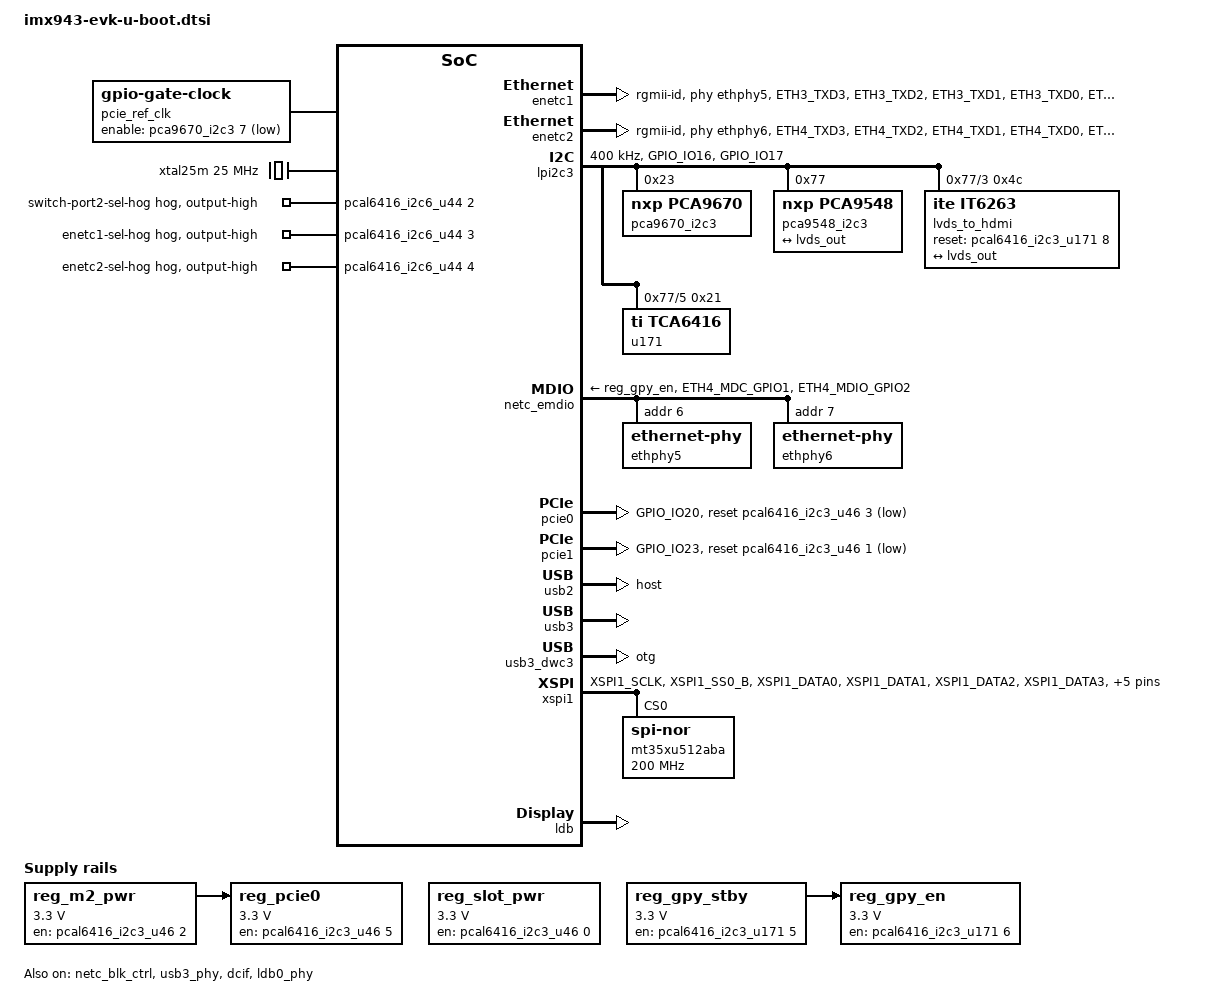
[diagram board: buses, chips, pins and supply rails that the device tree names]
// SPDX-License-Identifier: GPL-2.0+
/*
 * Copyright 2025 NXP
 */

#include "imx943-u-boot.dtsi"

/ {
	aliases {
		gpio1 = &gpio2;
		gpio2 = &gpio3;
		gpio3 = &gpio4;
		gpio4 = &gpio5;
		gpio5 = &gpio6;
		gpio6 = &gpio7;
		mmc0 = &usdhc1;
		mmc1 = &usdhc2;
		serial0 = &lpuart1;
		ethernet0 = &enetc3;
		ethernet1 = &enetc1;
		ethernet2 = &enetc2;
		usb0 = &usb3_dwc3;
		usb1 = &usb2;
		usb_gadget0 = &usb3_dwc3;
		usb_gadget1 = &usbg2;
		pci0 = &netc_bus0;
		pci1 = &netc_bus1;
	};

	usbg2: usbg2 {
		compatible = "fsl,imx27-usb-gadget";
		dr_mode = "peripheral";
		chipidea,usb = <&usb2>;
		status = "okay";
	};

	chosen {
		bootargs = "console=ttyLP0,115200 earlycon";
	};

	pcie_ref_clk: clock-pcie-ref {
		compatible = "gpio-gate-clock";
		clocks = <&xtal25m>;
		#clock-cells = <0>;
		enable-gpios = <&pca9670_i2c3 7 GPIO_ACTIVE_LOW>;
	};

	reg_m2_pwr: regulator-m2-pwr {
		compatible = "regulator-fixed";
		regulator-name = "M.2-power";
		regulator-min-microvolt = <3300000>;
		regulator-max-microvolt = <3300000>;
		gpio = <&pcal6416_i2c3_u46 2 GPIO_ACTIVE_HIGH>;
		enable-active-high;
		/*
		 * M.2 device only can be enabled(W_DISABLE1#) after all Power
		 * Rails reach their minimum operating voltage (PCI Express M.2
		 * Specification r5.1 3.1.4 Power-up Timing).
		 * Set a delay equal to the max value of Tsettle here.
		 */
		startup-delay-us = <5000>;
	};

	reg_pcie0: regulator-pcie {
		compatible = "regulator-fixed";
		regulator-name = "PCIE_WLAN_EN";
		regulator-min-microvolt = <3300000>;
		regulator-max-microvolt = <3300000>;
		vin-supply = <&reg_m2_pwr>;
		gpio = <&pcal6416_i2c3_u46 5 GPIO_ACTIVE_HIGH>;
		enable-active-high;
	};

	reg_slot_pwr: regulator-slot-pwr {
		compatible = "regulator-fixed";
		regulator-name = "PCIe slot-power";
		regulator-min-microvolt = <3300000>;
		regulator-max-microvolt = <3300000>;
		gpio = <&pcal6416_i2c3_u46 0 GPIO_ACTIVE_HIGH>;
		enable-active-high;
	};

	reg_gpy_stby: regulator-gpy-stby {
		compatible = "regulator-fixed";
		regulator-name = "gpy-stby";
		regulator-min-microvolt = <3300000>;
		regulator-max-microvolt = <3300000>;
		gpio = <&pcal6416_i2c3_u171 5 GPIO_ACTIVE_HIGH>;
		enable-active-high;
	};

	reg_gpy_en: regulator-gpy-en {
		compatible = "regulator-fixed";
		regulator-name = "gpy-en";
		regulator-min-microvolt = <3300000>;
		regulator-max-microvolt = <3300000>;
		vin-supply = <&reg_gpy_stby>;
		gpio = <&pcal6416_i2c3_u171 6 GPIO_ACTIVE_HIGH>;
		enable-active-high;
	};

	xtal25m: clock-xtal25m {
		compatible = "fixed-clock";
		#clock-cells = <0>;
		clock-frequency = <25000000>;
		clock-output-names = "xtal_25MHz";
	};

	cm70: imx943-cm70 {
		compatible = "fsl,imx94-cm70";
	};

	cm71: imx943-cm71 {
		compatible = "fsl,imx94-cm71";
	};

	cm33s: imx943-cm33s {
		compatible = "fsl,imx94-cm33s";
	};
};

&enetc1 {
	clocks = <&scmi_clk IMX94_CLK_MAC4>;
	clock-names = "enet_ref_clk";
	pinctrl-names = "default";
	pinctrl-0 = <&pinctrl_eth3>;
	phy-handle = <&ethphy5>;
	phy-mode = "rgmii-id";
	status = "okay";
};

&enetc2 {
	clocks = <&scmi_clk IMX94_CLK_MAC5>;
	clock-names = "enet_ref_clk";
	pinctrl-names = "default";
	pinctrl-0 = <&pinctrl_eth4>;
	phy-handle = <&ethphy6>;
	phy-mode = "rgmii-id";
	status = "okay";
};

&lpi2c3 {
	clock-frequency = <400000>;
	pinctrl-names = "default";
	pinctrl-0 = <&pinctrl_lpi2c3>;
	status = "okay";

	pca9670_i2c3: gpio@23 {
		compatible = "nxp,pca9670";
		reg = <0x23>;
		gpio-controller;
		#gpio-cells = <2>;

		/* PCIE clock FANOUT buffer U12 VOE1/2/3/4 port on */
		pcie-p1-on-hog {
			gpio-hog;
			gpios = <1 GPIO_ACTIVE_HIGH>;
			output-low;
		};

		pcie-p2-on-hog {
			gpio-hog;
			gpios = <2 GPIO_ACTIVE_HIGH>;
			output-low;
		};

		pcie-p3-on-hog {
			gpio-hog;
			gpios = <3 GPIO_ACTIVE_HIGH>;
			output-low;
		};

		pcie-p4-on-hog {
			gpio-hog;
			gpios = <4 GPIO_ACTIVE_HIGH>;
			output-low;
		};
	};

	pca9548_i2c3: i2c-mux@77 {
		compatible = "nxp,pca9548";
		#address-cells = <1>;
		#size-cells = <0>;
		reg = <0x77>;

		i2c@3 {
			#address-cells = <1>;
			#size-cells = <0>;
			reg = <3>;

			lvds_to_hdmi: bridge@4c {
				compatible = "ite,it6263";
				reg = <0x4c>;
				reset-gpios = <&pcal6416_i2c3_u171 8 GPIO_ACTIVE_HIGH>;

				ports {
					#address-cells = <1>;
					#size-cells = <0>;

					port@0 {
						reg = <0>;

						it6263_in: endpoint {
							remote-endpoint = <&lvds_out>;
						};
					};
				};
			};
		};

		i2c@5 {
			#address-cells = <1>;
			#size-cells = <0>;
			reg = <5>;

			pcal6416_i2c3_u171: gpio@21 {
				compatible = "nxp,pcal6416";
				reg = <0x21>;
				gpio-controller;
				#gpio-cells = <2>;

				ethphy2-on-hog {
					gpio-hog;
					gpios = <2 GPIO_ACTIVE_HIGH>;
					output-high;
				};

				ethphy3-on-hog {
					gpio-hog;
					gpios = <3 GPIO_ACTIVE_HIGH>;
					output-high;
				};

				ethphy4-on-hog {
					gpio-hog;
					gpios = <4 GPIO_ACTIVE_HIGH>;
					output-high;
				};

				lvds-en-hog {
					gpio-hog;
					gpios = <9 GPIO_ACTIVE_HIGH>;
					output-high;
				};
			};
		};
	};
};

&pcal6416_i2c6_u44 {
	/* Switch-port2/ENET0 IOMUX selection */
	switch-port2-sel-hog {
		gpio-hog;
		gpios = <2 GPIO_ACTIVE_HIGH>;
		output-high;
	};

	/* ENET1 IOMUX selection */
	enetc1-sel-hog {
		gpio-hog;
		gpios = <3 GPIO_ACTIVE_HIGH>;
		output-high;
	};

	/* ENET2 IOMUX selection */
	enetc2-sel-hog {
		gpio-hog;
		gpios = <4 GPIO_ACTIVE_HIGH>;
		output-high;
	};
};

&lpuart1 {
	bootph-pre-ram;
};

&netc_blk_ctrl {
	assigned-clocks = <&scmi_clk IMX94_CLK_MAC2>,
			  <&scmi_clk IMX94_CLK_MAC4>,
			  <&scmi_clk IMX94_CLK_MAC5>;
	assigned-clock-parents = <&scmi_clk IMX94_CLK_SYSPLL1_PFD0>,
				 <&scmi_clk IMX94_CLK_SYSPLL1_PFD0>,
				 <&scmi_clk IMX94_CLK_SYSPLL1_PFD0>;
	assigned-clock-rates = <250000000>, <250000000>, <250000000>;
	status = "okay";
};

&netc_emdio {
	pinctrl-names = "default";
	pinctrl-0 = <&pinctrl_emdio>;
	phy-supply = <&reg_gpy_en>;
	status = "okay";

	ethphy5: ethernet-phy@6 {
		reg = <0x6>;
		realtek,clkout-disable;
	};

	ethphy6: ethernet-phy@7 {
		reg = <0x7>;
		realtek,clkout-disable;
	};
};

&reg_usdhc2_vmmc {
	bootph-pre-ram;
};

&pcie0 {
	pinctrl-0 = <&pinctrl_pcie0>;
	pinctrl-names = "default";
	clocks = <&scmi_clk IMX94_CLK_HSIO>,
		 <&scmi_clk IMX94_CLK_HSIOPLL>,
		 <&scmi_clk IMX94_CLK_HSIOPLL_VCO>,
		 <&scmi_clk IMX94_CLK_HSIOPCIEAUX>,
		 <&pcie_ref_clk>;
	clock-names = "pcie", "pcie_bus", "pcie_phy", "pcie_aux", "ext-ref";
	reset-gpio = <&pcal6416_i2c3_u46 3 GPIO_ACTIVE_LOW>;
	vpcie-supply = <&reg_pcie0>;
	status = "okay";
};

&pcie1 {
	pinctrl-0 = <&pinctrl_pcie1>;
	pinctrl-names = "default";
	clocks = <&scmi_clk IMX94_CLK_HSIO>,
		 <&scmi_clk IMX94_CLK_HSIOPLL>,
		 <&scmi_clk IMX94_CLK_HSIOPLL_VCO>,
		 <&scmi_clk IMX94_CLK_HSIOPCIEAUX>,
		 <&pcie_ref_clk>;
	clock-names = "pcie", "pcie_bus", "pcie_phy", "pcie_aux", "ext-ref";
	reset-gpio = <&pcal6416_i2c3_u46 1 GPIO_ACTIVE_LOW>;
	vpcie-supply = <&reg_slot_pwr>;
	status = "okay";
};

&usb2 {
	compatible = "fsl,imx8mm-usb", "fsl,imx7d-usb";
	/delete-property/power-domains;

	dr_mode = "host";
	hnp-disable;
	srp-disable;
	adp-disable;
	disable-over-current;
	status = "okay";
};

&usb3 {
	clocks = <&scmi_clk IMX94_CLK_HSIO>,
		 <&scmi_clk IMX94_CLK_24M>,
		 <&scmi_clk IMX94_CLK_32K>;
	clock-names = "hsio", "ref", "suspend";

	/delete-property/power-domains;
	bootph-pre-ram;

	status = "okay";
};

&usb3_dwc3 {
	bootph-pre-ram;
	dr_mode = "otg";
	hnp-disable;
	srp-disable;
	adp-disable;
	usb-role-switch;
	role-switch-default-mode = "peripheral";
	snps,dis-u1-entry-quirk;
	snps,dis-u2-entry-quirk;
	status = "okay";
};

&usb3_phy {
	bootph-pre-ram;
	orientation-switch;
	status = "okay";
};

&usdhc1 {
	bootph-pre-ram;
};

&usdhc2 {
	bootph-pre-ram;
};

&wdog3 {
	status = "disabled";
};

&xspi1 {
	bootph-pre-ram;
	pinctrl-names = "default";
	pinctrl-0 = <&pinctrl_xspi1>;
	nxp,xspi-env = <0>;
	nxp,xspi-gmid;
	status = "okay";

	mt35xu512aba: flash@0 {
		bootph-pre-ram;
		reg = <0>;
		#address-cells = <1>;
		#size-cells = <1>;
		compatible = "jedec,spi-nor";
		spi-max-frequency = <200000000>;
		spi-tx-bus-width = <8>;
		spi-rx-bus-width = <8>;
	};
};

&dcif {
	clocks = <&scmi_clk IMX94_CLK_DISPPIX>,
				 <&scmi_clk IMX94_CLK_DISPAPB>,
				 <&scmi_clk IMX94_CLK_DISPAXI>,
				 <&scmi_clk IMX94_CLK_LDBPLL>,
				 <&scmi_clk IMX94_CLK_LDBPLL_VCO>;
	assigned-clocks = <&dispmix_csr IMX94_CLK_DISPMIX_CLK_SEL>;
	assigned-clock-parents = <&ldb_pll_pixel>;
	status = "okay";
};

&ldb {
	assigned-clocks = <&scmi_clk IMX94_CLK_LDBPLL_VCO>,
			  <&scmi_clk IMX94_CLK_LDBPLL>;
	assigned-clock-parents = <0>,
			  <&scmi_clk IMX94_CLK_LDBPLL_VCO>;
	assigned-clock-rates = <4158000000>, <519750000>;
	status = "okay";

	channel@0 {
		fsl,data-mapping = "jeida";
		fsl,data-width = <24>;
		status = "okay";

		display-timings {
			native-mode = <&timing0>;

			timing0: timing0 {
				clock-frequency = <74250000>;
				hactive = <1280>;
				vactive = <720>;
				hfront-porch = <220>;
				hback-porch = <110>;
				hsync-len = <40>;
				vback-porch = <5>;
				vfront-porch = <20>;
				vsync-len = <5>;
			};
		};

		ports {
			#address-cells = <1>;
			#size-cells = <0>;

			port@1 {
				reg = <1>;

				lvds_out: endpoint {
					remote-endpoint = <&it6263_in>;
				};
			};
		};
	};
};

&ldb0_phy {
	status = "okay";
};

&scmi_iomuxc {
	pinctrl_emdio: emdiogrp {
		fsl,pins = <
			IMX94_PAD_ETH4_MDC_GPIO1__NETC_EMDC		0x57e
			IMX94_PAD_ETH4_MDIO_GPIO2__NETC_EMDIO		0x97e
		>;
	};

	pinctrl_eth3: eth3grp {
		fsl,pins = <
			IMX94_PAD_ETH3_TXD3__NETC_PINMUX_ETH3_TXD3		0x57e
			IMX94_PAD_ETH3_TXD2__NETC_PINMUX_ETH3_TXD2		0x57e
			IMX94_PAD_ETH3_TXD1__NETC_PINMUX_ETH3_TXD1		0x57e
			IMX94_PAD_ETH3_TXD0__NETC_PINMUX_ETH3_TXD0		0x57e
			IMX94_PAD_ETH3_TX_CTL__NETC_PINMUX_ETH3_TX_CTL		0x57e
			IMX94_PAD_ETH3_TX_CLK__NETC_PINMUX_ETH3_TX_CLK		0x5fe
			IMX94_PAD_ETH3_RX_CTL__NETC_PINMUX_ETH3_RX_CTL		0x57e
			IMX94_PAD_ETH3_RX_CLK__NETC_PINMUX_ETH3_RX_CLK		0x5fe
			IMX94_PAD_ETH3_RXD0__NETC_PINMUX_ETH3_RXD0		0x57e
			IMX94_PAD_ETH3_RXD1__NETC_PINMUX_ETH3_RXD1		0x57e
			IMX94_PAD_ETH3_RXD2__NETC_PINMUX_ETH3_RXD2		0x57e
			IMX94_PAD_ETH3_RXD3__NETC_PINMUX_ETH3_RXD3		0x57e
		>;
	};

	pinctrl_eth4: eth4grp {
		fsl,pins = <
			IMX94_PAD_ETH4_TXD3__NETC_PINMUX_ETH4_TXD3		0x57e
			IMX94_PAD_ETH4_TXD2__NETC_PINMUX_ETH4_TXD2		0x57e
			IMX94_PAD_ETH4_TXD1__NETC_PINMUX_ETH4_TXD1		0x57e
			IMX94_PAD_ETH4_TXD0__NETC_PINMUX_ETH4_TXD0		0x57e
			IMX94_PAD_ETH4_TX_CTL__NETC_PINMUX_ETH4_TX_CTL		0x57e
			IMX94_PAD_ETH4_TX_CLK__NETC_PINMUX_ETH4_TX_CLK		0x5fe
			IMX94_PAD_ETH4_RX_CTL__NETC_PINMUX_ETH4_RX_CTL		0x57e
			IMX94_PAD_ETH4_RX_CLK__NETC_PINMUX_ETH4_RX_CLK		0x5fe
			IMX94_PAD_ETH4_RXD0__NETC_PINMUX_ETH4_RXD0		0x57e
			IMX94_PAD_ETH4_RXD1__NETC_PINMUX_ETH4_RXD1		0x57e
			IMX94_PAD_ETH4_RXD2__NETC_PINMUX_ETH4_RXD2		0x57e
			IMX94_PAD_ETH4_RXD3__NETC_PINMUX_ETH4_RXD3		0x57e
		>;
	};

	pinctrl_lpi2c3: lpi2c3grp {
		fsl,pins = <
			IMX94_PAD_GPIO_IO16__LPI2C3_SDA		0x40000b8e
			IMX94_PAD_GPIO_IO17__LPI2C3_SCL		0x40000b8e
		>;
	};

	pinctrl_pcie0: pcie0grp {
		fsl,pins = <
			IMX94_PAD_GPIO_IO20__PCIE1_CLKREQ_B	0x4000030e
		>;
	};

	pinctrl_pcie1: pcie1grp {
		fsl,pins = <
			IMX94_PAD_GPIO_IO23__PCIE2_CLKREQ_B	0x4000030e
		>;
	};

	pinctrl_xspi1: xspi1grp {
		fsl,pins = <
			IMX94_PAD_XSPI1_SCLK__XSPI1_A_SCLK	0x3fe
			IMX94_PAD_XSPI1_SS0_B__XSPI1_A_SS0_B	0x3fe
			IMX94_PAD_XSPI1_DATA0__XSPI1_A_DATA0	0x3fe
			IMX94_PAD_XSPI1_DATA1__XSPI1_A_DATA1	0x3fe
			IMX94_PAD_XSPI1_DATA2__XSPI1_A_DATA2	0x3fe
			IMX94_PAD_XSPI1_DATA3__XSPI1_A_DATA3	0x3fe
			IMX94_PAD_XSPI1_DATA4__XSPI1_A_DATA4	0x3fe
			IMX94_PAD_XSPI1_DATA5__XSPI1_A_DATA5	0x3fe
			IMX94_PAD_XSPI1_DATA6__XSPI1_A_DATA6	0x3fe
			IMX94_PAD_XSPI1_DATA7__XSPI1_A_DATA7	0x3fe
			IMX94_PAD_XSPI1_DQS__XSPI1_A_DQS	0x3fe
		>;
	};
};

&dispmix_csr {
	/delete-property/ assigned-clocks;
	/delete-property/ assigned-clock-rates;
	/delete-property/ assigned-clock-parents;
};

&pinctrl_reg_usdhc2_vmmc {
	bootph-pre-ram;
};

&pinctrl_uart1 {
	bootph-pre-ram;
};

&pinctrl_usdhc1 {
	bootph-pre-ram;
};

&pinctrl_usdhc1_100mhz {
	bootph-pre-ram;
};

&pinctrl_usdhc1_200mhz {
	bootph-pre-ram;
};

&pinctrl_usdhc2 {
	bootph-pre-ram;
};

&pinctrl_usdhc2_100mhz {
	bootph-pre-ram;
};

&pinctrl_usdhc2_200mhz {
	bootph-pre-ram;
};

&pinctrl_usdhc2_gpio {
	bootph-pre-ram;
};

&pinctrl_xspi1 {
	bootph-pre-ram;
};

&pcal6416_i2c3_u46 {
	compatible = "ti,tca6416";
	label = "u46";
};

&pcal6416_i2c3_u171 {
	compatible = "ti,tca6416";
	label = "u171";
};

&pcal6416_i2c3_u48 {
	compatible = "ti,tca6416";
	label = "u48";
};

&pcal6408_i2c3_u172 {
	compatible = "ti,tca6408";
	label = "u172";
};

&pca9670_i2c3 {
	u-boot,i2c-offset-len = <0>;
};
